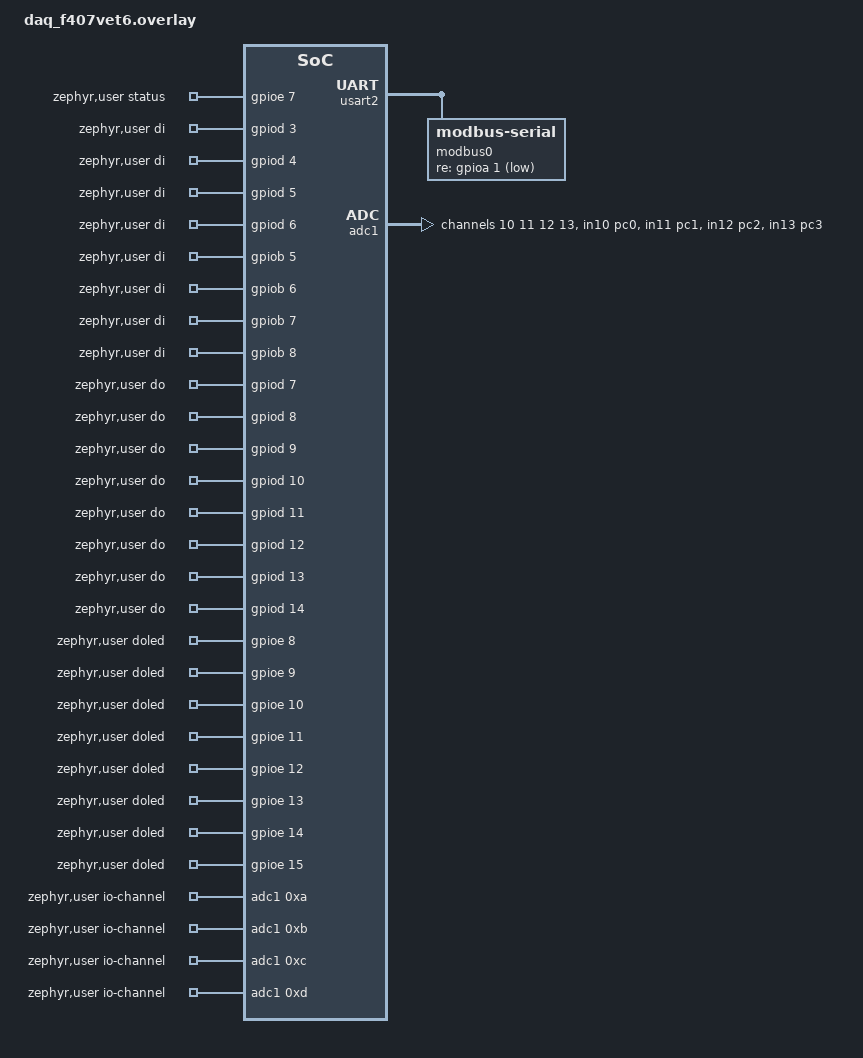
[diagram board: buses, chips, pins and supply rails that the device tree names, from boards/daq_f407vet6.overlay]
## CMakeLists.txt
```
# SPDX-License-Identifier: Apache-2.0

cmake_minimum_required(VERSION 3.20.0)

set(SNIPPET
  shell_en
  littlefs_flash
  imgmgr
)
find_package(Zephyr REQUIRED HINTS $ENV{ZEPHYR_BASE})
project(data-collect)

target_include_directories(app PRIVATE include)
target_include_directories_ifdef(CONFIG_NET_UDP app PRIVATE src/cJSON)

target_sources(app PRIVATE
  src/main.c
  src/modbus/function.c
  src/modbus/dio.c
  src/modbus/init.c
  src/modbus/history.c
)


target_sources_ifdef(CONFIG_NET_TCP app PRIVATE src/modbus/tcp.c)
target_sources_ifdef(CONFIG_NET_UDP app PRIVATE src/modbus/udp.c src/cJSON/cJSON.c)
target_sources_ifdef(CONFIG_RTC app PRIVATE src/time.c)
target_sources_ifdef(CONFIG_DT_HAS_ZEPHYR_MODBUS_SERIAL_ENABLED app PRIVATE src/modbus/rtu.c)
target_sources_ifdef(CONFIG_ADC app PRIVATE src/modbus/adc.c)
target_sources_ifdef(CONFIG_FILE_SYSTEM app PRIVATE src/fs.c)
target_sources_ifdef(CONFIG_BOOTLOADER_MCUBOOT app PRIVATE src/fw_upgrade.c)

aux_source_directory(src/ftp FTP_SRC)
target_sources_ifdef(CONFIG_MB_FTP_SERVER app PRIVATE ${FTP_SRC})
target_compile_option_ifdef(CONFIG_MB_FTP_SERVER app PRIVATE -Wno-format-truncation)

if(CONFIG_HTTP_SERVER)
  zephyr_linker_sources(SECTIONS sections-rom.ld)
  zephyr_linker_section(NAME
  				http_resource_desc_test_http_service
  				KVMA RAM_REGION GROUP RODATA_REGION
  				SUBALIGN ${CONFIG_LINKER_ITERABLE_SUBALIGN})
  
  target_sources(app PRIVATE src/http_server.c)
  
  set(gen_dir ${ZEPHYR_BINARY_DIR}/include/generated/)
  
  foreach(web_resource index.html)
    generate_inc_file_for_target(
      app
      resources/${web_resource}
      ${gen_dir}/${web_resource}.gz.inc
      --gzip
    )
  endforeach()
endif()
```

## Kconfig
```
menu "Data collect options"

config MODBUS_TCP_PRIORITY
	int "modbus tcp server priority"
	default 13
	help
	  Use this to set modbus tcp server priority

config MODBUS_RTU_PRIORITY
	int "modbus rtu server priority"
	default 13
	help
	  Use this to set modbus rtu server priority

config MODBUS_ADC_PRIORITY
	int "modbus adc server priority"
	default 13
	help
	  Use this to set modbus adc server priority

config MODBUS_DIO_PRIORITY
	int "modbus dio server priority"
	default 13
	help
	  Use this to set modbus dio server priority

config FW_UPGRADE_PRIORITY
	int "firmware upgrade server priority"
	default 13
	help
	  Use this to set firmware upgrade server priority

config FTP_PRIORITY
	int "ftp server priority"
	default 13
	help
	  Use this to set ftp server priority

config UDP_PRIORITY
	int "udp server priority"
	default 13
	help
	  Use this to set udp server priority

config MODBUS_TCP_STACK_SIZE
	int "modbus tcp server stack size"
	default 2048
	help
	  Use this to set modbus tcp server stack size

config MODBUS_ADC_STACK_SIZE
	int "modbus adc server stack size"
	default 2048
	help
	  Use this to set modbus adc server stack size

config MODBUS_DIO_STACK_SIZE
	int "modbus adc server stack size"
	default 1024
	help
	  Use this to set modbus adc server stack size

config MODBUS_RTU_STACK_SIZE
	int "modbus rtu server stack size"
	default 1024
	help
	  Use this to set modbus rtu server stack size

config FW_UPGRADE_STACK_SIZE
	int "firmware upgrade server stack size"
	default 1024
	help
	  Use this to set firmware upgrade server stack size

config FTP_STACK_SIZE
	int "FTP server stack size"
	default 2048
	help
	  Use this to set ftp server stack size

config UDP_STACK_SIZE
	int "UDP server stack size"
	default 1024
	help
	  Use this to set udp server stack size

config MODBUS_COLS_REGISTER_NUMBERS
	int "modbus cols register numbers"
	default 8
	help
	  Use this to set modbus cols register numbers

config MODBUS_INPUT_REGISTER_NUMBERS
	int "modbus input register numbers"
	default 6
	help
	  Use this to set modbus input register numbers

config MODBUS_HOLDING_REGISTER_NUMBERS
	int "modbus HOLDING register numbers"
	default 18
	help
	  Use this to set modbus holding register numbers

config MB_FTP_SERVER 
	bool "modbus ftp server"
	select NET_CONTEXT_SNDTIMEO
	help
	  modbus ftp server
endmenu

module = MODBUS_APP
module-str = modbus_app
source "subsys/logging/Kconfig.template.log_config"

source "Kconfig.zephyr"
```

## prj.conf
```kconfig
# log
CONFIG_LOG=y
CONFIG_LOG_BUFFER_SIZE=1024
CONFIG_LOG_OUTPUT_FORMAT_DATE_TIMESTAMP=y

CONFIG_POSIX_API=y
CONFIG_MAIN_STACK_SIZE=2048

# modbus
CONFIG_MODBUS=y
CONFIG_MODBUS_ROLE_SERVER=y
CONFIG_MODBUS_RAW_ADU=y
CONFIG_MODBUS_NUMOF_RAW_ADU=1
CONFIG_MODBUS_ROLE_SERVER=y

# Networking config
CONFIG_NETWORKING=y
CONFIG_NET_IPV4=y
CONFIG_NET_IPV6=n
CONFIG_NET_TCP=y
CONFIG_NET_UDP=y
CONFIG_NET_SOCKETS=y
CONFIG_NET_MAX_CONN=20
CONFIG_NET_MAX_CONTEXTS=20
CONFIG_ZVFS_POLL_MAX=32
CONFIG_NET_BUF_DATA_SIZE=256

CONFIG_MODBUS_TCP_STACK_SIZE=2048
CONFIG_MODBUS_DIO_STACK_SIZE=2048

# settings
CONFIG_FCB=y
CONFIG_SETTINGS=y
CONFIG_SETTINGS_RUNTIME=y

CONFIG_SYSTEM_WORKQUEUE_STACK_SIZE=2048

# JSON
CONFIG_JSON_LIBRARY=y
# ZCBOR
CONFIG_ZCBOR=y
```

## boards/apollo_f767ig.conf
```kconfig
# networking
CONFIG_TEST_RANDOM_GENERATOR=y
CONFIG_NET_CONNECTION_MANAGER=y
CONFIG_NET_MGMT_EVENT_MONITOR=y
CONFIG_ETH_DRIVER=y
CONFIG_NET_L2_ETHERNET=y
CONFIG_NET_ARP=y
CONFIG_NET_IPV4_IGMP=y
```

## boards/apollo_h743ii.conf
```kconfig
# networking
CONFIG_NETWORKING=y
CONFIG_TEST_RANDOM_GENERATOR=y
CONFIG_NET_CONNECTION_MANAGER=y
CONFIG_ETH_DRIVER=y
CONFIG_NET_L2_ETHERNET=y
CONFIG_NET_ARP=y
CONFIG_NET_IPV4_IGMP=y
```

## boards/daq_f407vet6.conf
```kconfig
# adc
CONFIG_ADC=y
CONFIG_ADC_SHELL=y

# networking
CONFIG_TEST_RANDOM_GENERATOR=y
CONFIG_NET_CONNECTION_MANAGER=y
CONFIG_NET_MGMT_EVENT_MONITOR=y
CONFIG_ETH_DRIVER=y
CONFIG_NET_L2_ETHERNET=y
CONFIG_NET_ARP=y
CONFIG_NET_IPV4_IGMP=y
```

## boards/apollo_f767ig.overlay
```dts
/{
	zephyr,user {
		phy-reset-gpios = <&i2c2_pcf8574 7 GPIO_ACTIVE_HIGH>;
		beep-gpios = <&i2c2_pcf8574 0 GPIO_ACTIVE_HIGH>;
		status-gpios = <&gpiob 0 GPIO_ACTIVE_HIGH>;
		di-gpios = <&gpiob 0 GPIO_ACTIVE_HIGH>,
							 <&gpiob 1 GPIO_ACTIVE_HIGH>;

		do-gpios = <&gpiob 0 GPIO_ACTIVE_HIGH>,
							 <&gpiob 1 GPIO_ACTIVE_HIGH>;
		doled-gpios = <&gpiob 0 GPIO_ACTIVE_HIGH>,
									<&gpiob 1 GPIO_ACTIVE_HIGH>;
	};
};
```

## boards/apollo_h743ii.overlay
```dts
/{
	zephyr,user {
		phy-reset-gpios = <&i2c2_pcf8574 7 GPIO_ACTIVE_HIGH>;
		beep-gpios = <&i2c2_pcf8574 0 GPIO_ACTIVE_HIGH>;
		status-gpios = <&gpiob 0 GPIO_ACTIVE_LOW>;
		di-gpios = <&gpiob 0 GPIO_ACTIVE_HIGH>,
							 <&gpiob 1 GPIO_ACTIVE_HIGH>;

		do-gpios = <&gpiob 0 GPIO_ACTIVE_HIGH>,
							 <&gpiob 1 GPIO_ACTIVE_HIGH>;
		doled-gpios = <&gpiob 0 GPIO_ACTIVE_HIGH>,
									<&gpiob 1 GPIO_ACTIVE_HIGH>;

		io-channels = <&adc1 0x13>, <&adc1 0x3>;
	};
};

&adc1 {
	pinctrl-0 = < &adc1_inp19_pa5 &adc1_inp3_pa6>;
	pinctrl-names = "default";
	st,adc-clock-source = <SYNC>;
	st,adc-prescaler = <4>;
	status = "okay";
	#address-cells = <1>;
	#size-cells = <0>;
	channel@13 {
		reg = <0x13>;
		zephyr,gain = "ADC_GAIN_1";
		zephyr,reference = "ADC_REF_INTERNAL";
		zephyr,acquisition-time = <ADC_ACQ_TIME_DEFAULT>;
		zephyr,resolution = <12>;
	};

	channel@3 {
		reg = <0x3>;
		zephyr,gain = "ADC_GAIN_1";
		zephyr,reference = "ADC_REF_INTERNAL";
		zephyr,acquisition-time = <ADC_ACQ_TIME_DEFAULT>;
		zephyr,resolution = <12>;
	};
};
```

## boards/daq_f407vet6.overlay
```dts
/{
	zephyr,user {
		status-gpios = <&gpioe 7 GPIO_ACTIVE_HIGH>;

		di-gpios = <&gpiod 3 GPIO_ACTIVE_HIGH>,
							 <&gpiod 4 GPIO_ACTIVE_HIGH>,
							 <&gpiod 5 GPIO_ACTIVE_HIGH>,
							 <&gpiod 6 GPIO_ACTIVE_HIGH>,
							 <&gpiob 5 GPIO_ACTIVE_HIGH>,
							 <&gpiob 6 GPIO_ACTIVE_HIGH>,
							 <&gpiob 7 GPIO_ACTIVE_HIGH>,
							 <&gpiob 8 GPIO_ACTIVE_HIGH>,
							 <&gpiob 9 GPIO_ACTIVE_HIGH>,
							 <&gpiob 10 GPIO_ACTIVE_HIGH>,
							 <&gpiob 11 GPIO_ACTIVE_HIGH>,
							 <&gpiod 2 GPIO_ACTIVE_HIGH>,
							 <&gpiob 0 GPIO_ACTIVE_HIGH>,
							 <&gpiob 1 GPIO_ACTIVE_HIGH>,
							 <&gpiob 3 GPIO_ACTIVE_HIGH>,
							 <&gpiob 4 GPIO_ACTIVE_HIGH>;

		do-gpios = <&gpiod 7 GPIO_ACTIVE_HIGH>,
							 <&gpiod 8 GPIO_ACTIVE_HIGH>,
							 <&gpiod 9 GPIO_ACTIVE_HIGH>,
							 <&gpiod 10 GPIO_ACTIVE_HIGH>,
							 <&gpiod 11 GPIO_ACTIVE_HIGH>,
							 <&gpiod 12 GPIO_ACTIVE_HIGH>,
							 <&gpiod 13 GPIO_ACTIVE_HIGH>,
							 <&gpiod 14 GPIO_ACTIVE_HIGH>;

		doled-gpios = <&gpioe 8 GPIO_ACTIVE_HIGH>,
		              <&gpioe 9 GPIO_ACTIVE_HIGH>,
		              <&gpioe 10 GPIO_ACTIVE_HIGH>,
		              <&gpioe 11 GPIO_ACTIVE_HIGH>,
		              <&gpioe 12 GPIO_ACTIVE_HIGH>,
		              <&gpioe 13 GPIO_ACTIVE_HIGH>,
		              <&gpioe 14 GPIO_ACTIVE_HIGH>,
		              <&gpioe 15 GPIO_ACTIVE_HIGH>;

		io-channels = <&adc1 0xa>, <&adc1 0xb>, <&adc1 0xc>, <&adc1 0xd>;
	};
};

&usart2 {
	status = "okay";

	modbus0 {
		compatible = "zephyr,modbus-serial";
		status = "okay";
		re-gpios = <&gpioa 1 GPIO_ACTIVE_LOW>;
	};
};

&adc1 {
	pinctrl-0 = < &adc1_in10_pc0 &adc1_in11_pc1 &adc1_in12_pc2 &adc1_in13_pc3>;
	pinctrl-names = "default";
	st,adc-clock-source = <SYNC>;
	st,adc-prescaler = <4>;
	status = "okay";
	#address-cells = <1>;
	#size-cells = <0>;
	channel@a {
		reg = <0xa>;
		zephyr,gain = "ADC_GAIN_1";
		zephyr,reference = "ADC_REF_INTERNAL";
		zephyr,acquisition-time = <ADC_ACQ_TIME_DEFAULT>;
		zephyr,resolution = <12>;
	};

	channel@b {
		reg = <0xb>;
		zephyr,gain = "ADC_GAIN_1";
		zephyr,reference = "ADC_REF_INTERNAL";
		zephyr,acquisition-time = <ADC_ACQ_TIME_DEFAULT>;
		zephyr,resolution = <12>;
	};

	channel@c {
		reg = <0xc>;
		zephyr,gain = "ADC_GAIN_1";
		zephyr,reference = "ADC_REF_INTERNAL";
		zephyr,acquisition-time = <ADC_ACQ_TIME_DEFAULT>;
		zephyr,resolution = <12>;
	};

	channel@d {
		reg = <0xd>;
		zephyr,gain = "ADC_GAIN_1";
		zephyr,reference = "ADC_REF_INTERNAL";
		zephyr,acquisition-time = <ADC_ACQ_TIME_DEFAULT>;
		zephyr,resolution = <12>;
	};

};
```

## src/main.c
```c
#include <zephyr/kernel.h>
#include <zephyr/app_version.h>
#include <zephyr/drivers/gpio.h>
#include <zephyr/sys/reboot.h>
#define USER_NODE DT_PATH(zephyr_user)

#include <zephyr/logging/log_ctrl.h>
#include <zephyr/logging/log.h>
LOG_MODULE_REGISTER(modbus_main, CONFIG_MODBUS_APP_LOG_LEVEL);
static bool need_reboot;
static bool get_reboot_status(void)
{
    return need_reboot;
}
void set_reboot_status(bool val)
{
    need_reboot = true;
}

int main(void)
{
    const struct gpio_dt_spec status_gpios = GPIO_DT_SPEC_GET(USER_NODE, status_gpios);

    gpio_pin_configure_dt(&status_gpios, GPIO_OUTPUT_INACTIVE);
    LOG_INF("build time: %s-%s, board: %s, system clk: %dMHz, version: %s",
            __DATE__, __TIME__,
            CONFIG_BOARD_TARGET,
            CONFIG_SYS_CLOCK_HW_CYCLES_PER_SEC/1000000,
            APP_VERSION_STRING
    );
    while (1) {
        gpio_pin_set_dt(&status_gpios, 0);
    	k_msleep(2700);
    	gpio_pin_set_dt(&status_gpios, 1);
    	k_msleep(300);
        if (get_reboot_status()) {
            LOG_INF("rebooting...");
            while (log_process() == true);
            k_msleep(1000);
            sys_reboot(SYS_REBOOT_COLD);
        }
    }
    return 0;
}
```

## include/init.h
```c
#ifndef __MODBUS_INIT_H_
#define __MODBUS_INIT_H_

#define USER_NODE DT_PATH(zephyr_user)

enum {
    INPUT_VER_IDX,         /* FW Version */
    INPUT_AI0_IDX,         /* AI0 data */
    INPUT_AI1_IDX,         /* AI1 data */
    INPUT_AI2_IDX,         /* AI2 data */
    INPUT_AI3_IDX,         /* AI3 data */
    INPUT_DI_IDX,          /* DI bit(0~15) */
    INPUT_MAX_IDX,
};

typedef enum {
    HOLDING_DO_IDX,        /* DO bit(0~7) */
    HOLDING_DI_EN_IDX,     /* DI enable bit(0~15) */
    HOLDING_AI_EN_IDX,     /* AI enable bit(0~3) */
    HOLDING_DI_SI_IDX,     /* DI sampling interval, ms */
    HOLDING_AI_SI_IDX,     /* AI sampling interval, ms */
    HOLDING_HIS_SAVE_IDX,  /* save history to flash, disable: 0, enable: others */
    HOLDING_CAN_ID_IDX,    /* CAN address configure */
    HOLDING_CAN_BPS_IDX,   /* CAN bps */
    HOLDING_RS485_BPS_IDX, /* RS485 uart bps */
    HOLDING_SLAVE_ID_IDX,  /* modbus rtu slave id */
    HOLDING_IP_ADDR_1_IDX, /* ip address aa <aa.bb.cc.dd> */
    HOLDING_IP_ADDR_2_IDX, /* ip address bb <aa.bb.cc.dd> */
    HOLDING_IP_ADDR_3_IDX, /* ip address cc <aa.bb.cc.dd> */
    HOLDING_IP_ADDR_4_IDX, /* ip address dd <aa.bb.cc.dd> */
    HOLDING_TIMESTAMPH_IDX, /* timestamp high 16 bit */
    HOLDING_TIMESTAMPL_IDX, /* timestamp low 16 bit */
    HOLDING_CFG_SAVE_IDX,  /* save configure to flash, disable: 0, enable: others */
    HOLDING_REBOOT_IDX,    /* reboot when set 1 */
    HOLDING_MAX_IDX,
} holding_idx;

#include <zephyr/kernel.h>

#define DI_TYPE   1
#define AI_TYPE   2
#define AI_NUM    4
struct his_data {
    uint16_t type;
    uint32_t timestamps;
    union {
        struct {
            uint16_t di_en_status;
            uint16_t di_value;
        } di __packed;
        struct {
            uint16_t ai_en_status;
            uint16_t ai_value[AI_NUM];
        } ai __packed;
    } __packed;
} __packed;


extern struct modbus_user_callbacks mbs_cbs;
int mb_set_do(uint16_t val);
int update_input_reg(uint16_t addr, uint16_t reg);
int update_holding_reg(uint16_t addr, uint16_t reg);
uint16_t get_holding_reg(uint16_t addr);
uint16_t get_input_reg(size_t index);
int write_history_data(void *data, size_t size);

#include <zephyr/logging/log.h>
LOG_MODULE_DECLARE(modbus_main, CONFIG_MODBUS_APP_LOG_LEVEL);
#endif
```

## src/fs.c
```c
#include <zephyr/kernel.h>
#include <zephyr/fs/fs.h>

#include <zephyr/logging/log.h>
LOG_MODULE_REGISTER(app_mount, LOG_LEVEL_INF);
#ifdef CONFIG_FAT_FILESYSTEM_ELM
#include <ff.h>

#ifdef CONFIG_FS_FATFS_HAS_RTC
#include <zephyr/posix/time.h>
DWORD get_fattime(void)
{
	time_t unix_time = time(NULL);
	struct tm *cal;

	/* Convert to calendar time */
	cal = localtime(&unix_time);

	/* From http://elm-chan.org/fsw/ff/doc/fattime.html */
	return (DWORD)(cal->tm_year - 80) << 25 | (DWORD)(cal->tm_mon + 1) << 21 |
	       (DWORD)cal->tm_mday << 16 | (DWORD)cal->tm_hour << 11 | (DWORD)cal->tm_min << 5 |
	       (DWORD)cal->tm_sec >> 1;
}
#endif


static FATFS _fat_fs;
/* mounting info */
static struct fs_mount_t fatfs_mnt = {
	.type = FS_FATFS,
	.fs_data = &_fat_fs,
	.mnt_point = "/"DT_PROP(DT_INST(0, zephyr_flash_disk), disk_name)":",
};
static int _fs_mount_init(void)
{
    if (fs_mount(&fatfs_mnt)) {
	LOG_ERR("fs mount failed");
	return -1;
    }
    return 0;
}
SYS_INIT(_fs_mount_init, APPLICATION, 90);
#endif
```

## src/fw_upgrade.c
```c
#include <zephyr/kernel.h>
#include <zephyr/posix/sys/select.h>
#include <zephyr/net/socket.h>
#include <zephyr/drivers/flash.h>
#include <zephyr/storage/flash_map.h>

#define SLOT1_PARTITION		slot1_partition
#define SLOT1_PARTITION_ID	FIXED_PARTITION_ID(SLOT1_PARTITION)
#define SLOT1_PARTITION_DEV	FIXED_PARTITION_DEVICE(SLOT1_PARTITION)
#define SLOT1_PARTITION_NODE	DT_NODELABEL(SLOT1_PARTITION)
#define TCP_PORT 20001
#include <zephyr/logging/log.h>
LOG_MODULE_REGISTER(fw_boot, LOG_LEVEL_INF);

static uint32_t data_buf[512];
static struct fw_msg {
    uint32_t total_size;
    uint32_t frame_size;
} msg_hdr;

void fw_upgrade(void)
{
    int serv;
	const struct flash_area *fa;
    struct sockaddr_in bind_addr, client_addr;
    socklen_t client_addr_len;
    int rc;

	rc = flash_area_open(SLOT1_PARTITION_ID, &fa);
    if (rc) {
        LOG_ERR("flash area open failed");
        return;
    }

    serv = socket(AF_INET, SOCK_STREAM, IPPROTO_TCP);
    if (serv < 0) {
        LOG_ERR("error: socket: %d", errno);
        return;
    }

    bind_addr.sin_family = AF_INET;
    bind_addr.sin_addr.s_addr = htonl(INADDR_ANY);
    bind_addr.sin_port = htons(TCP_PORT);

    if (bind(serv, (struct sockaddr *)&bind_addr, sizeof(bind_addr)) < 0) {
        LOG_ERR("error: bind: %d", errno);
        return;
    }

    if (listen(serv, 5) < 0) {
        LOG_ERR("error: listen: %d", errno);
        return;
    }

    while (1) {
        int offset = 0;
        int count = 0;
        bool erase = false;
        bool upgrade_finished = false;

        int client = accept(serv, (struct sockaddr *)&client_addr, &client_addr_len);
        if (client < 0) {
            LOG_ERR("accept error");
            k_msleep(300);
            continue;
        }
        do {
            rc = recv(client, &msg_hdr, sizeof(msg_hdr), MSG_WAITALL);
            if (rc < 0) break;

            if (msg_hdr.frame_size > sizeof(data_buf)) {
                LOG_ERR("frame size need <= %d", sizeof(data_buf));
                break;
            }

            rc = recv(client, data_buf, msg_hdr.frame_size, MSG_WAITALL);
            if (rc < 0) break;
            if (!erase) {
                flash_area_erase(fa, 0, fa->fa_size);
                LOG_INF("starting upgrade firmware, size: %d", msg_hdr.total_size);
                erase = true;
            }
            if (flash_area_write(fa, offset, data_buf, msg_hdr.frame_size)) {
                LOG_ERR("flash area write error");
                break;
            }
            offset += msg_hdr.frame_size;
            count ++;
            if (offset == msg_hdr.total_size) {
                LOG_INF("write finished, total size: %d, count: %d", msg_hdr.total_size, count);
                send(client, &count, sizeof(count), 0);
                upgrade_finished = true;
                break;
            }
        } while (rc > 0);

        close(client);
        if (upgrade_finished) {
            extern void set_reboot_status(bool val);
            set_reboot_status(true);
        }

    }
}

K_THREAD_DEFINE(fw_up, CONFIG_FW_UPGRADE_STACK_SIZE, fw_upgrade, NULL, NULL, NULL, CONFIG_FW_UPGRADE_PRIORITY, 0, 0);
```

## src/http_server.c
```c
#include <stdio.h>
#include <inttypes.h>

#include <zephyr/kernel.h>
#include <zephyr/net/tls_credentials.h>
#include <zephyr/net/http/server.h>
#include <zephyr/net/http/service.h>
#include <zephyr/net/net_ip.h>
#include <zephyr/net/socket.h>
#include "zephyr/device.h"
#include "zephyr/sys/util.h"
#include <zephyr/drivers/led.h>
#include <zephyr/data/json.h>
#include <zephyr/sys/util_macro.h>
#include <zephyr/posix/time.h>
#include <zephyr/app_version.h>
#include <zephyr/drivers/flash.h>
#include <zephyr/storage/flash_map.h>

#include <zephyr/logging/log.h>
LOG_MODULE_REGISTER(net_http_server_app, LOG_LEVEL_INF);

static uint8_t http_buf[2048];

static const uint8_t index_html_gz[] = {
#include "index.html.gz.inc"
};

static struct http_resource_detail_static index_html_gz_resource_detail = {
	.common = {
			.type = HTTP_RESOURCE_TYPE_STATIC,
			.bitmask_of_supported_http_methods = BIT(HTTP_GET),
			.content_encoding = "gzip",
			.content_type = "text/html",
		},
	.static_data = index_html_gz,
	.static_data_len = sizeof(index_html_gz),
};

#define SLOT1_PARTITION		slot1_partition
#define SLOT1_PARTITION_ID	FIXED_PARTITION_ID(SLOT1_PARTITION)
#define SLOT1_PARTITION_DEV	FIXED_PARTITION_DEVICE(SLOT1_PARTITION)
#define SLOT1_PARTITION_NODE	DT_NODELABEL(SLOT1_PARTITION)
static struct fw_data {
	bool found;
	bool had_first;
	uint8_t first_line[64];
	size_t offset;
	const struct flash_area *fa;
} fw_d;
#define FLASH_SUCCESS "{\"status\": \"success\"}\r\n"
#define FLASH_FAILED "{\"status\": \"failed\"}\r\n"
static int fw_upgrade_handler(struct http_client_ctx *client, enum http_data_status status,
			uint8_t *buffer, size_t len, struct http_response_ctx *response_ctx,
			void *user_data)
{
	struct fw_data *f_data = user_data;

	__ASSERT_NO_MSG(buffer != NULL);

	if (status == HTTP_SERVER_DATA_ABORTED) {
		LOG_DBG("Transaction aborted after %zd bytes.", f_data->offset);
		memset(f_data, 0, sizeof(struct fw_data));
		return 0;
	}
	if (!f_data->found) {
		uint8_t *data;
		if ((!f_data->had_first) && strstr(buffer, "\r\n")) {
			buffer[len] = '\0';
			memcpy(f_data->first_line, buffer, MIN((uint8_t *)strstr(buffer, "\r\n") - buffer, sizeof(f_data->first_line)));
			f_data->had_first = true;
		}
		data = strstr(buffer, "\r\n\r\n");
		if (data) {
			data += 4;
			if (flash_area_open(SLOT1_PARTITION_ID, &f_data->fa)) {
				LOG_ERR("flash area open failed");
				return -1;
			}
			flash_area_erase(f_data->fa, 0, f_data->fa->fa_size);
			LOG_INF("starting upgrade firmware, size: %d", f_data->fa->fa_size);
			if (flash_area_write(f_data->fa, f_data->offset, data, len - (data - buffer))) {
				LOG_ERR("flash area write failed");
				return -1;
			}
			f_data->found = true;
			f_data->offset = len - (data - buffer);
		}
	} else {
		int _len = f_data->offset + len - f_data->fa->fa_size;
		if (_len > 0) {
			uint8_t *off = (uint8_t *)strstr(buffer + len - _len, f_data->first_line);
			if (off)
				len = off - buffer - 2;
			else
				LOG_ERR("file not right");
		}
		if (flash_area_write(f_data->fa, f_data->offset, buffer, len)) {
			LOG_ERR("flash area write failed");
			return -1;
		}
		f_data->offset += len;
	}
	if (status == HTTP_SERVER_DATA_FINAL) {
		if (f_data->offset != f_data->fa->fa_size) {
			LOG_ERR("write error, %x, %x", f_data->offset, f_data->fa->fa_size);
			response_ctx->body = FLASH_FAILED;
			response_ctx->body_len = strlen(FLASH_FAILED);
			response_ctx->status = HTTP_400_BAD_REQUEST;
		} else {
			LOG_INF("write finished, total size: %d", f_data->offset);
			response_ctx->body = FLASH_SUCCESS;
			response_ctx->body_len = strlen(FLASH_SUCCESS);
			extern void set_reboot_status(bool val);
			set_reboot_status(true);
		}
		response_ctx->final_chunk = (status == HTTP_SERVER_DATA_FINAL);
		memset(f_data, 0, sizeof(struct fw_data));
	}

	return 0;
}

static struct http_resource_detail_dynamic fw_upgrade_resource_detail = {
	.common = {
			.type = HTTP_RESOURCE_TYPE_DYNAMIC,
			.bitmask_of_supported_http_methods = BIT(HTTP_GET) | BIT(HTTP_POST),
			.content_type = "application/json",
		},
	.cb = fw_upgrade_handler,
	.user_data = &fw_d,
};

static int get_version_handler(struct http_client_ctx *client, enum http_data_status status,
			  uint8_t *buffer, size_t len, struct http_response_ctx *response_ctx,
			  void *user_data)
{
	int ret;
	static uint8_t ver_buf[64];


	if (status == HTTP_SERVER_DATA_FINAL) {
		ret = snprintf(ver_buf, sizeof(ver_buf), "build time: %s-%s, version: %s",
				__DATE__, __TIME__, APP_VERSION_TWEAK_STRING);
		if (ret < 0) {
			LOG_ERR("Failed to snprintf uptime, err %d", ret);
			return ret;
		}

		response_ctx->body = ver_buf;
		response_ctx->body_len = ret;
		response_ctx->final_chunk = true;
	}

	return 0;
}

static struct http_resource_detail_dynamic get_version_resource_detail = {
	.common = {
			.type = HTTP_RESOURCE_TYPE_DYNAMIC,
			.bitmask_of_supported_http_methods = BIT(HTTP_GET),
		},
	.cb = get_version_handler,
	.user_data = NULL,
};

#if defined(CONFIG_FILE_SYSTEM)
#if DT_NODE_EXISTS(DT_NODELABEL(lfs1))
#define ROOT DT_PROP(DT_NODELABEL(lfs1), mount_point)
#elif DT_NODE_EXISTS(DT_INST(0, zephyr_flash_disk))
#define ROOT "/"DT_PROP(DT_INST(0, zephyr_flash_disk), disk_name)":"
#else
#error "Must enable filesystem"
#endif

static struct http_resource_detail_static_fs fs_resource_detail = {
	.common = {
			.type = HTTP_RESOURCE_TYPE_STATIC_FS,
			.bitmask_of_supported_http_methods = BIT(HTTP_GET),
		},
	.fs_path = "",
};

#include <zephyr/posix/dirent.h>
#include <zephyr/posix/fcntl.h>
#include <zephyr/posix/unistd.h>

static int files_handler(struct http_client_ctx *client, enum http_data_status status,
		       uint8_t *buffer, size_t len, struct http_response_ctx *response_ctx,
		       void *user_data)
{
	uint8_t buf[128];

	LOG_DBG("Uptime handler status %d", status);

	/* A payload is not expected with the GET request. Ignore any data and wait until
	 * final callback before sending response
	 */
	if (status == HTTP_SERVER_DATA_FINAL) {
		DIR *dir;
		struct stat st;
		struct dirent *ptr;
		int offset = 0;

		offset += snprintf(http_buf, 2048, "[ ");
		dir = opendir(ROOT);
		if (dir == NULL) {
			LOG_ERR("ROOT is not found");
			goto end_opendir;
		}

		while ((ptr = readdir(dir)) != NULL) {
			if (snprintf(buf, 128, ROOT "/%s", ptr->d_name) < 0)
				continue;
			if (stat(buf, &st) == 0) {
				if (!S_ISREG(st.st_mode))
					continue;
				offset += snprintf(http_buf + offset, 2048 - offset, "{\"name\": \"%s\", \"size\": %ld},", buf, st.st_size);
			}
		}
	end_opendir:
		http_buf[offset - 1] = ']';
		closedir(dir);

		response_ctx->body = http_buf;
		response_ctx->body_len = offset;
		response_ctx->final_chunk = true;
		return 0;
	}
	response_ctx->body = NULL;
	response_ctx->body_len = 0;
	response_ctx->final_chunk = false;
	return 0;
}

static struct http_resource_detail_dynamic filelists_resource_detail = {
	.common = {
			.type = HTTP_RESOURCE_TYPE_DYNAMIC,
			.bitmask_of_supported_http_methods = BIT(HTTP_GET),
			.content_type = "application/json",
		},
	.cb = files_handler,
	.user_data = NULL,
};
#endif

static uint16_t test_http_service_port = 80;
HTTP_SERVICE_DEFINE(test_http_service, NULL, &test_http_service_port, 1, 10, NULL);

HTTP_RESOURCE_DEFINE(index_html_gz_resource, test_http_service, "/", &index_html_gz_resource_detail);
HTTP_RESOURCE_DEFINE(fw_resource, test_http_service, "/fw_upgrade", &fw_upgrade_resource_detail);
HTTP_RESOURCE_DEFINE(uptime_resource, test_http_service, "/version", &get_version_resource_detail);

#if defined(CONFIG_FILE_SYSTEM)
HTTP_SERVER_CONTENT_TYPE(raw, "application/octet-stream");
HTTP_RESOURCE_DEFINE(fs_resource, test_http_service, ROOT"/*", &fs_resource_detail);
HTTP_RESOURCE_DEFINE(file_resource, test_http_service, "/filelists", &filelists_resource_detail);
#endif

int init_http_server(void)
{
    return http_server_start();
}

SYS_INIT(init_http_server, APPLICATION, 15);
```

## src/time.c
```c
#include <zephyr/kernel.h>
#include <zephyr/drivers/rtc.h>
#include <time.h>
#include <zephyr/logging/log_ctrl.h>

#include <zephyr/logging/log.h>
LOG_MODULE_REGISTER(time, LOG_LEVEL_INF);
static const struct device *rtc_dev = DEVICE_DT_GET(DT_NODELABEL(rtc));

#ifdef CONFIG_LOG
static log_timestamp_t sync_rtc_timestamp_get(void)
{
    return (log_timestamp_t)time(NULL);
}
#endif

void set_timestamp(time_t t)
{
    struct rtc_time *rt = (struct rtc_time *)gmtime(&t);
    struct timespec ts;

    rtc_set_time(rtc_dev, rt);

    time_t time_set = mktime((struct tm *)rt);

    ts.tv_sec = time_set;
    ts.tv_nsec = 0;

    if (clock_settime(CLOCK_REALTIME, &ts) < 0) {
    	LOG_ERR("Failed to set clock time");
    	return;
    }
}

int clock_init(void)
{
    struct timespec ts;
    struct rtc_time rt;

    rtc_get_time(rtc_dev, &rt);

    time_t time_set = mktime((struct tm *)&rt);

    ts.tv_sec = time_set;
    ts.tv_nsec = 0;

    if (clock_settime(CLOCK_REALTIME, &ts) < 0) {
    	LOG_ERR("Failed to set clock time");
    	return -1;
    }
#ifdef CONFIG_LOG
    log_set_timestamp_func(sync_rtc_timestamp_get, 1); // sys_clock_hw_cycles_per_sec());
#endif
    return 0;
}

SYS_INIT(clock_init, POST_KERNEL, 41);
```
